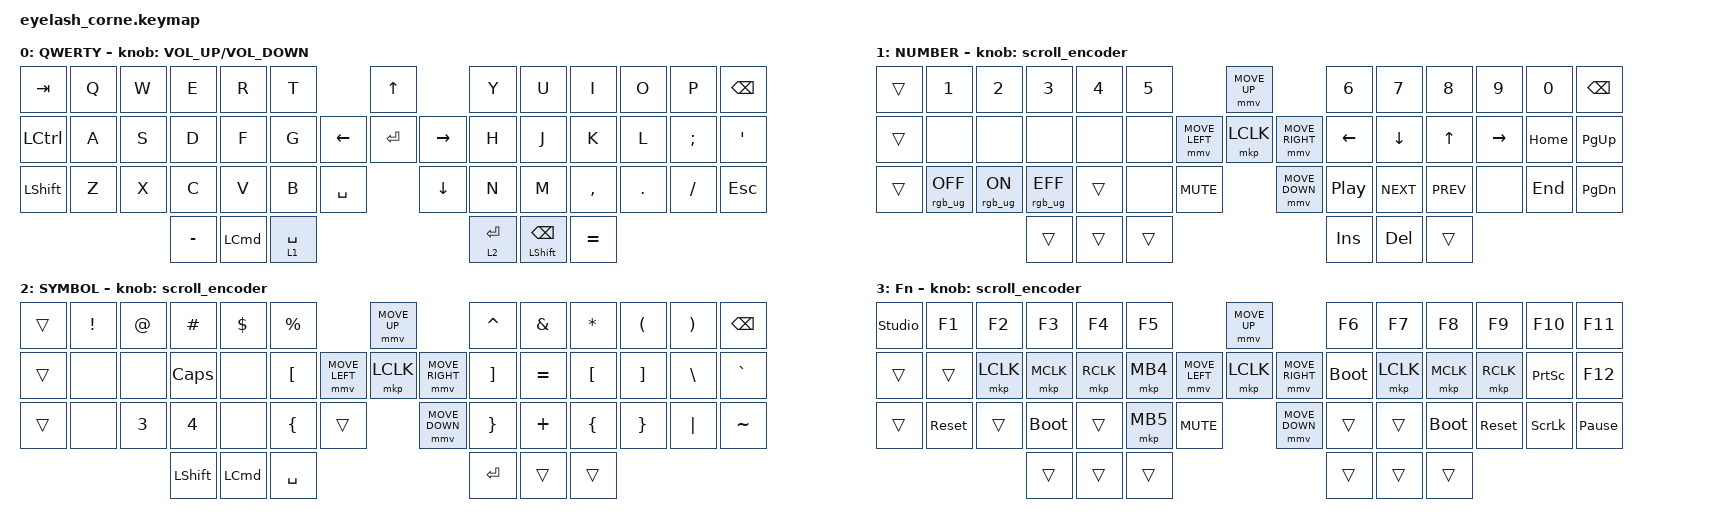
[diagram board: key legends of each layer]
#define ZMK_POINTING_DEFAULT_MOVE_VAL 1200  // 600
#define ZMK_POINTING_DEFAULT_SCRL_VAL 25   // 10

#include <input/processors.dtsi>
#include <zephyr/dt-bindings/input/input-event-codes.h>
#include <behaviors.dtsi>
#include <dt-bindings/zmk/keys.h>
#include <dt-bindings/zmk/pointing.h>
#include <dt-bindings/zmk/rgb.h>

&mmv_input_listener { input-processors = <&zip_xy_scaler 2 1>; };

&msc_input_listener { input-processors = <&zip_scroll_scaler 2 1>; };

&msc {
    acceleration-exponent = <1>;      // 0
    time-to-max-speed-ms = <100>;       // 300
    delay-ms = <0>;                   // 0
};

&mmv {
    time-to-max-speed-ms = <500>;
    acceleration-exponent = <1>;
    trigger-period-ms = <16>;
};

/ {
    behaviors {
        td0: td0 {
            compatible = "zmk,behavior-tap-dance";
            display-name = "Shift/Caps Lock Tap Dance";
            #binding-cells = <0>;
            bindings = <&kp LEFT_SHIFT>, <&kp CAPS>;
        };
    };

    rgb_encoder: rgb_encoder {
        compatible = "zmk,behavior-sensor-rotate";
        #sensor-binding-cells = <0>;
        bindings = <&rgb_ug RGB_BRI>, <&rgb_ug RGB_BRD>;
    };

    scroll_encoder: scroll_encoder {
        compatible = "zmk,behavior-sensor-rotate";
        #sensor-binding-cells = <0>;
        bindings = <&msc SCRL_DOWN>, <&msc SCRL_UP>;

        tap-ms = <100>;
    };

    keymap {
        compatible = "zmk,keymap";

        default_layer {
            display-name = "QWERTY";
            bindings = <
&kp TAB           &kp Q  &kp W  &kp E      &kp R             &kp T                               &kp UP                &kp Y        &kp U                     &kp I      &kp O    &kp P     &kp BSPC
&kp LEFT_CONTROL  &kp A  &kp S  &kp D      &kp F             &kp G                     &kp LEFT  &kp ENTER  &kp RIGHT  &kp H        &kp J                     &kp K      &kp L    &kp SEMI  &kp SQT
&kp LSHIFT        &kp Z  &kp X  &kp C      &kp V             &kp B        &kp SPACE              &kp DOWN              &kp N        &kp M                     &kp COMMA  &kp DOT  &kp FSLH  &kp ESC
                                &kp MINUS  &kp LEFT_COMMAND  &lt 1 SPACE                                               &lt 2 ENTER  &mt LEFT_SHIFT BACKSPACE  &kp EQUAL
            >;

            sensor-bindings = <&inc_dec_kp C_VOLUME_UP C_VOLUME_DOWN>;
        };

        lower_layer {
            display-name = "NUMBER";
            bindings = <
&trans  &kp N1           &kp N2          &kp N3           &kp N4  &kp N5                                &mmv MOVE_UP                     &kp N6            &kp N7      &kp N8      &kp N9     &kp N0    &kp BSPC
&trans  &none            &none           &none            &none   &none                 &mmv MOVE_LEFT  &mkp LCLK       &mmv MOVE_RIGHT  &kp LEFT          &kp DOWN    &kp UP      &kp RIGHT  &kp HOME  &kp PG_UP
&trans  &rgb_ug RGB_OFF  &rgb_ug RGB_ON  &rgb_ug RGB_EFF  &trans  &none   &kp C_MUTE                    &mmv MOVE_DOWN                   &kp C_PLAY_PAUSE  &kp C_NEXT  &kp K_PREV  &none      &kp END   &kp PG_DN
                                         &trans           &trans  &trans                                                                 &kp INS           &kp DEL     &trans
            >;

            sensor-bindings = <&scroll_encoder>;
        };

        raise_layer {
            display-name = "SYMBOL";
            bindings = <
&trans  &kp EXCL  &kp AT        &kp HASH      &kp DLLR          &kp PRCNT                                   &mmv MOVE_UP                     &kp CARET          &kp AMPS   &kp ASTRK  &kp LPAR  &kp RPAR  &kp BSPC
&trans  &none     &none         &kp CAPSLOCK  &none             &kp LEFT_BRACKET            &mmv MOVE_LEFT  &mkp LCLK       &mmv MOVE_RIGHT  &kp RIGHT_BRACKET  &kp EQUAL  &kp LBKT   &kp RBKT  &kp BSLH  &kp GRAVE
&trans  &none     &kp NUMBER_3  &kp NUMBER_4  &none             &kp LEFT_BRACE    &trans                    &mmv MOVE_DOWN                   &kp RIGHT_BRACE    &kp PLUS   &kp LBRC   &kp RBRC  &kp PIPE  &kp TILDE
                                &kp LSHIFT    &kp LEFT_COMMAND  &kp SPACE                                                                    &kp RET            &trans     &trans
            >;

            sensor-bindings = <&scroll_encoder>;
        };

        layer_3 {
            display-name = "Fn";
            bindings = <
&studio_unlock  &kp F1      &kp F2     &kp F3       &kp F4     &kp F5                                  &mmv MOVE_UP                     &kp F6       &kp F7     &kp F8       &kp F9      &kp F10          &kp F11
&trans          &trans      &mkp LCLK  &mkp MCLK    &mkp RCLK  &mkp MB4                &mmv MOVE_LEFT  &mkp LCLK       &mmv MOVE_RIGHT  &bootloader  &mkp LCLK  &mkp MCLK    &mkp RCLK   &kp PRINTSCREEN  &kp F12
&trans          &sys_reset  &trans     &bootloader  &trans     &mkp MB5  &kp C_MUTE                    &mmv MOVE_DOWN                   &trans       &trans     &bootloader  &sys_reset  &kp SCROLLLOCK   &kp PAUSE_BREAK
                                       &trans       &trans     &trans                                                                   &trans       &trans     &trans
            >;

            sensor-bindings = <&scroll_encoder>;
        };
    };
};
